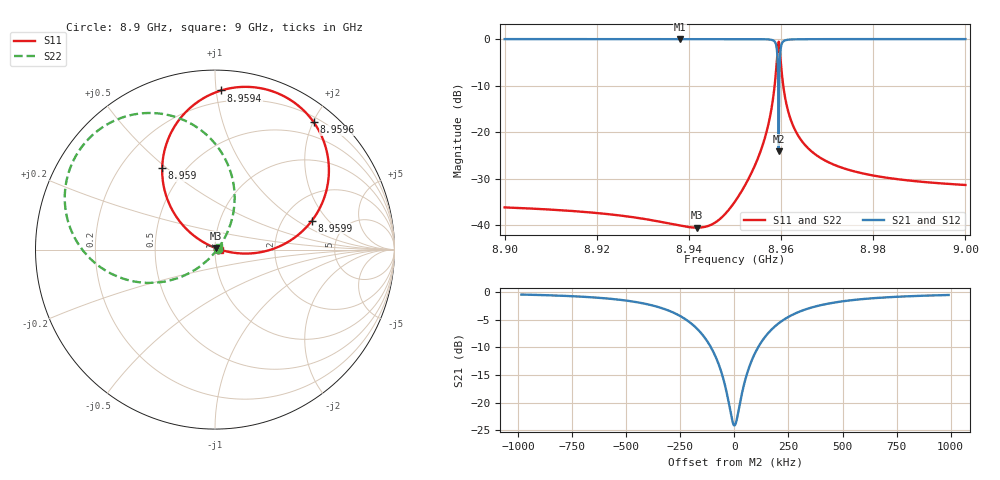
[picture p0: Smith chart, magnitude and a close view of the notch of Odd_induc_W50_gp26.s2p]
! Sonnet Data File
! From: emgraph Version : 16.52
! From Emgraph Data: Resonator2_cp_varyW
! Data File Written: 10/09/2017 09:13:00
!< HDATE 10/09/2017 07:42:24
!< MDATE 10/09/2017 07:43:09
!< PARAMS
!< Length = 400.0
!< Pwid1 = 2000.0
!< Width = 50.0
!< gap = 26.0
!< END PARAMS
# GHZ S MA R 47.40000
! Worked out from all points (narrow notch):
!   1596 points, 8.9 GHz to 9 GHz, reference 47.4 ohm
!   highest |S21| = 0.00 dB at 8.938 GHz (marker M1); lowest = -24.1 dB at 8.9595 GHz (marker M2)
!   notch at M2: 24.1 dB deep, 166 kHz wide at half that depth
!   lowest |S11| = -40.5 dB at 8.9417 GHz (marker M3), VSWR 1.02, Z = 47.7 + j0.836 ohm
!   |S11| at or under -10 dB: start of sweep to 8.9586 GHz; 8.960467 GHz to end of sweep
!   |S22| runs from -40.6 to -0.6 dB; largest |S21 - S12| = 0
!   S11 on the Smith chart (normalised r, x): 8.9 GHz: 1.03, +0.01; 8.959 GHz: 0.37, +0.48; 8.9594 GHz: 0.12, +1.03; 8.9596 GHz: 0.28, +2.01; 8.9599 GHz: 2.87, +1.36; 9 GHz: 1.06, +0.00
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8.9  0.01551 17.6  0.9999 -73.3  0.9999 -73.3  0.0155 15.7
!< P1 F=8.9 Eeff=(5.03074334 -2.1789e-5) Z0=(47.3979938 1.04427e-4) R=0.0 C=0.0
!< P2 F=8.9 Eeff=(5.03074334 -2.1789e-5) Z0=(47.3979938 1.04427e-4) R=0.0 C=0.0
8.9167  0.01394 22.4  0.9999 -73.6  0.9999 -73.6  0.01393 10.4
8.9334  0.01095 38.6  0.9999 -74.0  0.9999 -74.0  0.01094 -6.6
8.938  0.009883 51.2  0.9999 -74.2  0.9999 -74.2  0.009854 -19.6
8.9417  0.009392 68.8  0.9999 -74.4  0.9999 -74.4  0.009348 -37.6
8.9461  0.01099 100.0  0.9999 -74.8  0.9999 -74.8  0.01093 -69.8
8.95  0.01795 126.6  0.9998 -75.4  0.9998 -75.4  0.01787 -97.7
8.956393  0.08352 147.5  0.9958 -79.3  0.9958 -79.3  0.08337 -127.0
8.9583  0.2379 142.1  0.9669 -88.3  0.9669 -88.3  0.2376 -140.8
8.959028  0.5429 122.8  0.8152 -107.4  0.8152 -107.4  0.5422 -162.9
8.959244  0.7558 104.9  0.5932 -123.4  0.5932 -123.4  0.7548 178.4
8.959371  0.8871 87.8  0.3294 -135.2  0.3294 -135.2  0.886 160.9
8.959426  0.9239 79.0  0.1838 -135.0  0.1838 -135.0  0.9227 151.8
8.959484  0.9384 69.1  0.06214 -75.0  0.06214 -75.0  0.9373 141.8
8.959587  0.8977 52.2  0.2998 -12.9  0.2998 -12.9  0.8966 124.5
8.959707  0.7845 36.1  0.5531 -23.2  0.5531 -23.2  0.7836 108.0
8.95994  0.5635 16.6  0.8019 -40.3  0.8019 -40.3  0.5628 87.8
8.9606  0.2839 -1.6  0.954 -58.1  0.954 -58.1  0.2836 67.4
8.962004  0.1403 -8.7  0.9891 -66.5  0.9891 -66.5  0.1402 56.4
8.9667  0.06148 -8.6  0.998 -71.1  0.998 -71.1  0.06145 46.6
8.9834  0.03207 -2.4  0.9995 -73.0  0.9995 -73.0  0.03207 36.4
9  0.02702 0.5  0.9996 -73.5  0.9996 -73.5  0.02701 32.7
